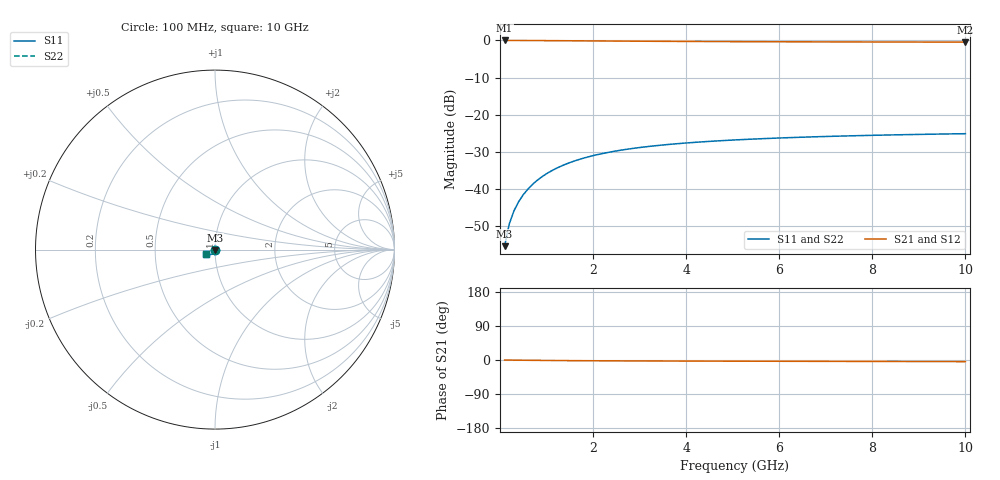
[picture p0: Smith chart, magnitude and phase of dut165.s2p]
! Touchstone file exported from HFSS 2024.1.0
!  File:  C:/UserFiles/LocalFiles/RDL_TSV_Batchsim/temp_TSV1_165_1778766238.aedt
!  Generated:  09:49:57 PM May 14, 2026
!  Design:  TSV1
!  Project:  temp_TSV1_165_1778766238
!  Setup:  Setup1
!  Solution:  Sweep
! Variables:
!  dtsv = 17.03um
!  hbump = 3um
!  htsv = 60.09um
!  lrdl = 252.1521522um
!  p = 40
!  p1 = 51.82um
!  t = 500um
!  trdl = 3um
!  wrdl = 24.89489489um
# GHz S MA R 50.000000
! Terminal data exported
! Port[1] = TSV22_T1
! Port[2] = TSV22_T2
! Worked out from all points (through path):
!   100 points, 100 MHz to 10 GHz, reference 50 ohm
!   highest |S21| = 0.00 dB at 100 MHz (marker M1); lowest = -0.4 dB at 10 GHz (marker M2)
!   lowest |S11| = -55.5 dB at 100 MHz (marker M3), VSWR 1.00, Z = 50 - j0.167 ohm
!   |S11| at or under -10 dB: start of sweep to end of sweep
!   |S22| runs from -55.5 to -25.2 dB; largest |S21 - S12| = 3.2e-15
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0.1  0.001674 -89.6  0.9999 -0.1  0.9999 -0.1  0.001674 -89.6
! Gamma 0 0 0 0
! Port Impedance 50 0 50 0
0.2  0.003341 -92.6  0.9997 -0.3  0.9997 -0.3  0.003341 -92.6
0.3  0.004998 -94.8  0.9994 -0.4  0.9994 -0.4  0.004998 -94.8
0.4  0.00664 -96.8  0.9991 -0.5  0.9991 -0.5  0.00664 -96.8
0.5  0.008261 -98.7  0.9986 -0.6  0.9986 -0.6  0.008261 -98.7
0.6  0.009856 -100.5  0.998 -0.7  0.998 -0.7  0.009856 -100.5
0.7  0.01142 -102.3  0.9974 -0.9  0.9974 -0.9  0.01142 -102.3
0.8  0.01295 -104.0  0.9966 -1.0  0.9966 -1.0  0.01295 -104.0
0.9  0.01444 -105.7  0.9959 -1.1  0.9959 -1.1  0.01444 -105.7
1.1  0.01729 -108.9  0.9941 -1.3  0.9941 -1.3  0.01729 -108.9
1.4  0.02123 -113.3  0.9913 -1.5  0.9913 -1.5  0.02123 -113.3
1.6  0.02363 -116.1  0.9894 -1.7  0.9894 -1.7  0.02363 -116.1
1.8  0.02584 -118.6  0.9874 -1.8  0.9874 -1.8  0.02584 -118.6
2.1  0.02883 -122.1  0.9845 -2.0  0.9845 -2.0  0.02883 -122.1
2.5  0.03228 -126.3  0.9809 -2.3  0.9809 -2.3  0.03228 -126.3
2.9  0.03521 -129.8  0.9775 -2.4  0.9775 -2.4  0.03521 -129.8
3.4  0.03829 -133.6  0.9737 -2.6  0.9737 -2.6  0.03829 -133.6
4.2  0.04221 -138.4  0.9686 -2.9  0.9686 -2.9  0.04221 -138.4
5.1  0.04559 -142.6  0.9639 -3.1  0.9639 -3.1  0.04559 -142.6
6.7  0.04994 -148.2  0.9576 -3.5  0.9576 -3.5  0.04994 -148.2
8.4  0.05308 -152.5  0.953 -3.9  0.953 -3.9  0.05308 -152.5
10  0.05517 -155.5  0.9498 -4.3  0.9498 -4.3  0.05517 -155.5
